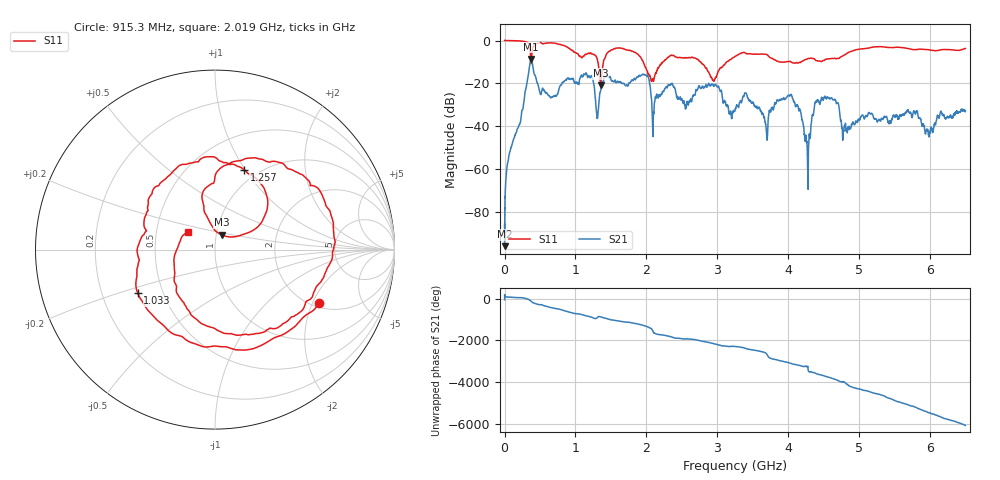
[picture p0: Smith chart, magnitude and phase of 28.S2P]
!Keysight Technologies,E5063A,MY54503115,A.05.08
!Date: Mon Dec 11 14:01:19 2023
!Data & Calibration Information:
!Freq	S11:NONE(--)	S21:NONE(--)	S12:NONE(--)	S22:NONE(--)
# Hz S dB R 50
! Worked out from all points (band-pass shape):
!   10001 points, 100 kHz to 6.5 GHz, reference 50 ohm
!   highest |S21| = -8.63 dB at 374.5 MHz (marker M1); lowest = -95.8 dB at 750 kHz (marker M2)
!   |S21| within 3 dB of the highest: 352.7 MHz to 396.3 MHz (43.6 MHz wide, 11.6 % of centre)
!   lowest |S11| = -20.8 dB at 1.354 GHz (marker M3), VSWR 1.20, Z = 53.1 + j8.89 ohm
!   |S11| at or under -10 dB: 1.956 GHz to 2.233 GHz (276.6 MHz wide, 13.2 % of centre); 2.766 GHz to 3.129 GHz (363.2 MHz wide, 12.3 % of centre); 4.043 GHz to 4.18 GHz (136.8 MHz wide, 3.33 % of centre) (the widest 3 of 11)
!   S12 and S22 are empty: the file has one direction only
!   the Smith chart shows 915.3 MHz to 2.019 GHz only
!   S11 on the Smith chart (normalised r, x): 915.3 MHz: 2.15, -2.23; 1.033 GHz: 0.36, -0.23; 1.257 GHz: 0.86, +0.99; 2.019 GHz: 0.73, +0.15
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100000  0.05 -0.6  -85.50 -53.0  -200.00 0.0  -200.00 0.0
749990  0.00 -0.6  -95.81 123.0  -200.00 0.0  -200.00 0.0
2.308464e8  -0.21 -76.8  -36.25 50.8  -200.00 0.0  -200.00 0.0
3.744942e8  -10.89 -121.7  -8.63 -128.8  -200.00 0.0  -200.00 0.0
5.701412e8  -1.34 171.1  -23.73 8.4  -200.00 0.0  -200.00 0.0
7.235389e8  -1.30 98.1  -25.93 -120.4  -200.00 0.0  -200.00 0.0
9.152859e8  -3.74 -27.4  -17.88 66.6  -200.00 0.0  -200.00 0.0
1.032934e9  -6.12 -150.6  -20.36 -12.8  -200.00 0.0  -200.00 0.0
1.083633e9  -7.88 167.6  -16.08 -42.0  -200.00 0.0  -200.00 0.0
1.257181e9  -6.51 70.0  -20.12 144.1  -200.00 0.0  -200.00 0.0
1.354029e9  -20.83 66.1  -23.44 -156.2  -200.00 0.0  -200.00 0.0
1.645225e9  -3.50 2.9  -19.93 -14.4  -200.00 0.0  -200.00 0.0
2.018969e9  -14.88 146.2  -16.62 88.0  -200.00 0.0  -200.00 0.0
2.167167e9  -12.94 49.4  -26.24 77.6  -200.00 0.0  -200.00 0.0
3.25005e9  -7.43 -48.1  -32.34 -130.8  -200.00 0.0  -200.00 0.0
3.690093e9  -6.40 -112.9  -41.77 -109.7  -200.00 0.0  -200.00 0.0
4.026788e9  -9.70 -124.9  -25.75 148.5  -200.00 0.0  -200.00 0.0
4.264034e9  -8.69 -122.7  -47.41 -22.0  -200.00 0.0  -200.00 0.0
4.333583e9  -8.24 -132.1  -35.71 78.6  -200.00 0.0  -200.00 0.0
4.53378e9  -8.66 -131.8  -26.69 -138.3  -200.00 0.0  -200.00 0.0
5.417117e9  -3.22 162.3  -37.90 -95.4  -200.00 0.0  -200.00 0.0
6.5e9  -3.67 110.3  -33.08 31.6  -200.00 0.0  -200.00 0.0
